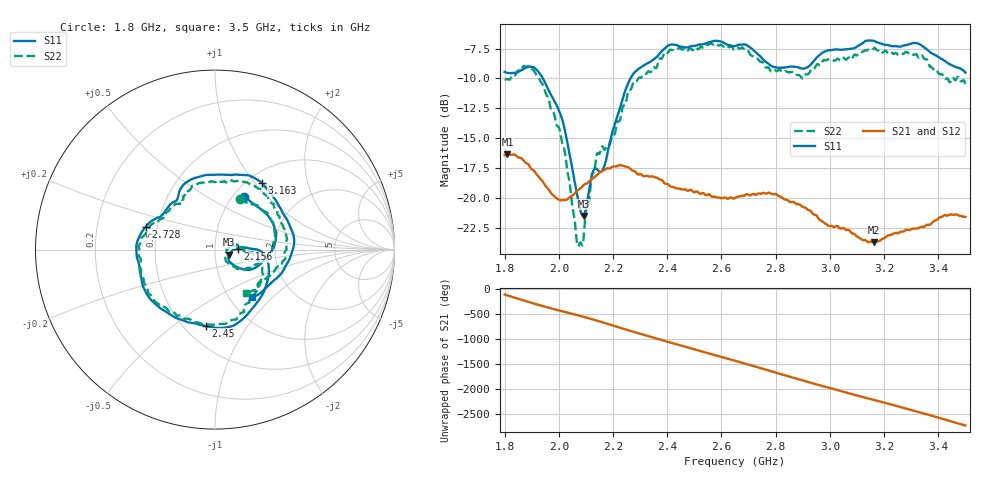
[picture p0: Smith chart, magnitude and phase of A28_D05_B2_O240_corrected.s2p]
! Created with skrf 1.9.0 (http://scikit-rf.org).
# Hz S RI R 50.0
!freq ReS11 ImS11 ReS21 ImS21 ReS12 ImS12 ReS22 ImS22
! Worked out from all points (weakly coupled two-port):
!   1601 points, 1.8 GHz to 3.5 GHz, reference 50 ohm
!   highest |S21| = -16.34 dB at 1.811 GHz (marker M1); lowest = -23.7 dB at 3.162 GHz (marker M2)
!   lowest |S11| = -21.5 dB at 2.091 GHz (marker M3), VSWR 1.18, Z = 58.5 - j3.38 ohm
!   |S11| at or under -10 dB: 1.941 GHz to 2.264 GHz (322.9 MHz wide, 15.4 % of centre)
!   |S22| runs from -24.0 to -7.1 dB; largest |S21 - S12| = 0.0027
!   S11 on the Smith chart (normalised r, x): 1.8 GHz: 1.13, +0.75; 2.156 GHz: 1.30, +0.01; 2.45 GHz: 0.63, -0.66; 2.728 GHz: 0.43, +0.13; 3.163 GHz: 1.16, +1.09; 3.5 GHz: 1.27, -0.75
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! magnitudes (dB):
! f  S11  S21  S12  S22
! 1.8 GHz  -9.5  -16.4  -16.4  -10.1
! 1.811 GHz  -9.5  -16.3  -16.3  -10.0
! 1.887 GHz  -9.0  -17.2  -17.2  -9.0
! 1.941 GHz  -10.0  -18.6  -18.6  -10.6
! 2.013 GHz  -13.4  -20.2  -20.2  -15.4
! 2.067 GHz  -19.6  -19.4  -19.4  -23.7
! 2.084 GHz  -21.3  -19.1  -19.1  -23.9
! 2.091 GHz  -21.5  -18.9  -19.0  -23.4
! 2.127 GHz  -17.7  -18.4  -18.3  -17.9
! 2.156 GHz  -17.8  -17.8  -17.8  -15.9
! 2.195 GHz  -14.7  -17.4  -17.4  -14.9
! 2.262 GHz  -10.1  -17.5  -17.5  -11.0
! 2.367 GHz  -8.1  -18.4  -18.3  -8.6
! 2.45 GHz  -7.4  -19.3  -19.3  -7.5
! 2.65 GHz  -7.3  -20.0  -20.0  -7.6
! 2.728 GHz  -7.8  -19.7  -19.8  -8.3
! 2.934 GHz  -8.7  -21.2  -21.2  -9.2
! 3.162 GHz  -6.9  -23.7  -23.7  -7.5
! 3.163 GHz  -6.9  -23.7  -23.7  -7.5
! 3.217 GHz  -7.2  -23.1  -23.1  -7.9
! 3.325 GHz  -7.1  -22.5  -22.5  -8.2
! 3.5 GHz  -9.5  -21.6  -21.6  -10.5
